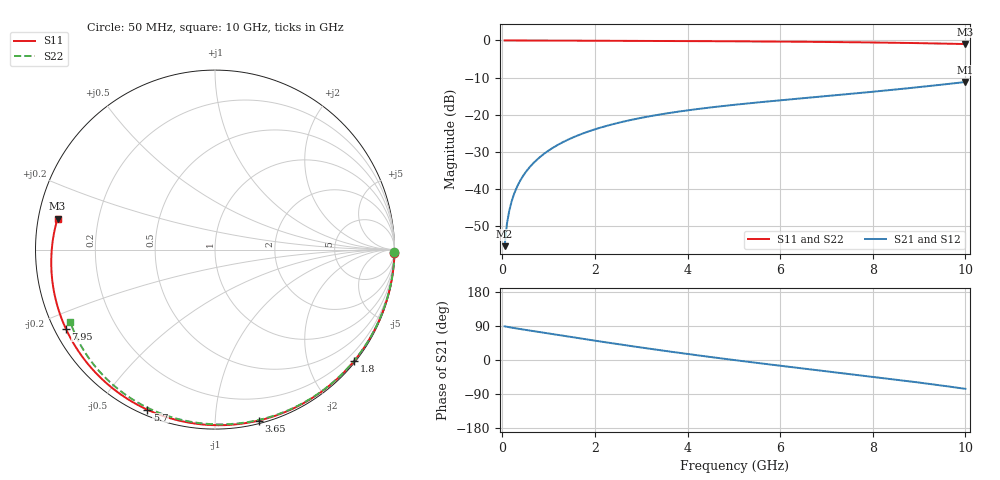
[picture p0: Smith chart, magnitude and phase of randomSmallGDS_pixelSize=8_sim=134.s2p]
! freq	dB(S11)	phase(S11)	dB(S12)	phase(S12)
!  dB(S21)	phase(S21)	dB(S22)	phase(S22)
!S-par simulation data
#  GHz  S  DB  R 50
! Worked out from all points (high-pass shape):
!   200 points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, 50 MHz to 10 GHz, reference 50 ohm
!   highest |S21| = -11.19 dB at 10 GHz (marker M1); lowest = -55.3 dB at 50 MHz (marker M2)
!   |S21| within 3 dB of the highest: 7.675 GHz to end of sweep
!   lowest |S11| = -1.0 dB at 10 GHz (marker M3), VSWR 17.90, Z = 2.82 + j4.86 ohm
!   |S11| at or under -10 dB: nowhere
!   |S22| runs from -0.9 to 0.0 dB; largest |S21 - S12| = 0
!   S11 on the Smith chart (normalised r, x): 50 MHz: open; 1.8 GHz: 0.03, -2.85; 3.65 GHz: 0.02, -1.29; 5.7 GHz: 0.02, -0.66; 7.95 GHz: 0.03, -0.25; 10 GHz: 0.06, +0.10
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0.05  -0.00 -1.1  -55.34 88.8  -55.34 88.8  -0.00 -0.9
0.1  -0.00 -2.2  -49.34 87.6  -49.34 87.6  -0.00 -1.8
0.15  -0.00 -3.3  -45.84 86.5  -45.84 86.5  -0.00 -2.7
0.2  -0.00 -4.4  -43.36 85.4  -43.36 85.4  -0.00 -3.6
0.35  -0.01 -7.7  -38.57 82.4  -38.57 82.4  -0.01 -6.2
0.5  -0.01 -10.9  -35.52 79.5  -35.52 79.5  -0.01 -8.9
0.7  -0.02 -15.3  -32.65 75.7  -32.65 75.7  -0.02 -12.4
1  -0.03 -21.7  -29.62 69.9  -29.62 69.9  -0.03 -17.7
1.35  -0.04 -29.2  -27.10 63.3  -27.10 63.3  -0.04 -23.7
1.75  -0.06 -37.6  -24.98 55.7  -24.98 55.7  -0.05 -30.6
1.8  -0.06 -38.6  -24.75 54.8  -24.75 54.8  -0.05 -31.5
2.6  -0.10 -55.0  -21.88 40.0  -21.88 40.0  -0.08 -45.0
3.4  -0.14 -70.8  -19.92 26.0  -19.92 26.0  -0.12 -58.0
3.65  -0.15 -75.6  -19.43 21.7  -19.43 21.7  -0.13 -62.0
4.35  -0.19 -88.7  -18.24 10.2  -18.24 10.2  -0.17 -73.0
5.05  -0.23 -101.4  -17.26 -0.8  -17.26 -0.8  -0.21 -83.6
5.7  -0.28 -112.9  -16.45 -10.7  -16.45 -10.7  -0.25 -93.1
6.7  -0.37 -130.3  -15.31 -25.3  -15.31 -25.3  -0.33 -107.4
7.95  -0.53 -152.1  -13.86 -43.5  -13.86 -43.5  -0.48 -124.8
8.35  -0.60 -159.2  -13.37 -49.5  -13.37 -49.5  -0.54 -130.3
9.2  -0.76 -175.1  -12.28 -62.7  -12.28 -62.7  -0.70 -142.1
10  -0.97 168.9  -11.19 -76.1  -11.19 -76.1  -0.90 -153.4
